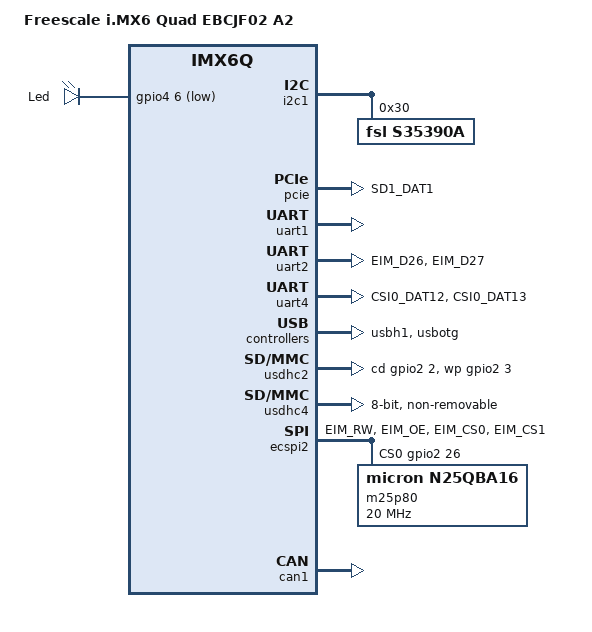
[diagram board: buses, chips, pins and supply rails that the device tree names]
/*
 * Copyright 2012 Freescale Semiconductor, Inc.
 * Copyright 2011 Linaro Ltd.
 *
 * The code contained herein is licensed under the GNU General Public
 * License. You may obtain a copy of the GNU General Public License
 * Version 2 or later at the following locations:
 *
 * http://www.opensource.org/licenses/gpl-license.html
 * http://www.gnu.org/copyleft/gpl.html
 */

/dts-v1/;

#include "imx6q.dtsi"
#include "imx6qdl-advantech.dtsi"

/ {
	model = "Freescale i.MX6 Quad EBCJF02 A2";
	compatible = "fsl,imx6q-sabresd", "fsl,imx6q";

	board {
		compatible = "proc-board";
		board-type = "EBC-JF02 A1";
		board-cpu = "DualQuad";
	};

        leds {
                compatible = "gpio-leds";
                pinctrl-names = "default";
                pinctrl-0 = <&pinctrl_leds_debug_1>;
                led {
                        label = "Led";
                        gpios = <&gpio4 6 1>;
                        default-state = "on";
                        linux,default-trigger = "heartbeat";
                };
        };
};

&i2c1 {
	s35390a@30 {
		compatible = "fsl,s35390a";
		reg = <0x30>;
	};
};

&i2c2 {

};

&i2c3 {

};

&iomuxc {
	pinctrl-names = "default";
	pinctrl-0 = <&pinctrl_hog_1 &pinctrl_hog_2>;

	hog {
		pinctrl_hog_2: hoggrp-2 {
			fsl,pins = <
				MX6QDL_PAD_SD1_CMD__GPIO1_IO18 		0x80000000	/* VGPI_0 */
				MX6QDL_PAD_SD1_CLK__GPIO1_IO20 		0x80000000	/* VGPI_1 */
				MX6QDL_PAD_SD3_CMD__GPIO7_IO02 		0x80000000	/* VGPO_0 */
			>;
		};
	};

	pcie {
		pinctrl_pcie_1: pciegrp-1 {
			fsl,pins = <
				MX6QDL_PAD_SD1_DAT1__GPIO1_IO17		0x80000000	/* LTE_SW_DISABLE */
			>;
		};
	};

	spi1 {
		pinctrl_ecspi1_cs_0: ecspi1_cs_grp-0 {
			fsl,pins = <
				MX6QDL_PAD_EIM_EB2__GPIO2_IO30		0x80000000	/* ECSPI1_CS0 */
			>;
		};
	};

        spi2 {
                pinctrl_ecspi2_cs_0: ecspi2_cs_grp-0 {
                        fsl,pins = <
                                MX6QDL_PAD_EIM_RW__GPIO2_IO26           0x80000000      /* ECSPI2_CS0 */
                        >;
                };
                pinctrl_ecspi2_1: ecspi2grp-1 {
                        fsl,pins = <
                                MX6QDL_PAD_EIM_OE__ECSPI2_MISO          0x170f1         /* ECSPI2_MISO */
                                MX6QDL_PAD_EIM_CS0__ECSPI2_SCLK         0x170f1         /* ECSPI2_CLK */
                                MX6QDL_PAD_EIM_CS1__ECSPI2_MOSI         0x1B008         /* ECSPI2_MOSI */
                        >;
                };
        };

	uart2 {
		pinctrl_uart2_3: uart2grp-3 { 
			fsl,pins = <
				MX6QDL_PAD_EIM_D26__UART2_TX_DATA	0x1b0b1
				MX6QDL_PAD_EIM_D27__UART2_RX_DATA	0x1b0b1
			>;
		};
	};

	uart4 {
		pinctrl_uart4_1: uart4grp-1 {
			fsl,pins = <
				MX6QDL_PAD_CSI0_DAT12__UART4_TX_DATA	0x1b0b1
				MX6QDL_PAD_CSI0_DAT13__UART4_RX_DATA	0x1b0b1
			>;
		};
	};

        leds {
                pinctrl_leds_debug_1: leds_debug1grp-1{
                        fsl,pins = <
                                MX6QDL_PAD_KEY_COL0__GPIO4_IO06          0x1b0b1 /* led0 */
                        >;
                };
        };


};

&pcie {
	pinctrl-names = "default";
	pinctrl-0 = <&pinctrl_pcie_1>;
	disable-gpio = <&gpio1 17 0>;
	status = "okay";
};

&uart1 {
	pinctrl-names = "default";
	pinctrl-0 = <&pinctrl_uart1_1>;
	status = "okay";
};

&uart2 {
	pinctrl-names = "default";
	pinctrl-0 = <&pinctrl_uart2_3>;
	status = "okay";
};

&uart4 {
	pinctrl-names = "default";
	pinctrl-0 = <&pinctrl_uart4_1>;
	status = "okay";
};

&usbh1 {
	status = "okay";
};

&usbotg {
	pinctrl-names = "default";
	pinctrl-0 = <&pinctrl_usbotg_2>;
	disable-over-current;
	status = "okay";
};

&usdhc2 {
	pinctrl-names = "default";
	pinctrl-0 = <&pinctrl_usdhc2_2>;
	cd-gpios = <&gpio2 2 0>;
	wp-gpios = <&gpio2 3 0>;
	no-1-8-v;
	keep-power-in-suspend;
	enable-sdio-wakeup;
	status = "okay";
};

&usdhc4 {
	pinctrl-names = "default";
	pinctrl-0 = <&pinctrl_usdhc4_1>;
	bus-width = <8>;
	non-removable;
	no-1-8-v;
	keep-power-in-suspend;
	status = "okay";
};


&ecspi2 {
        fsl,spi-num-chipselects = <1>;
        cs-gpios = <&gpio2 26 0>;
        pinctrl-names = "default";
        pinctrl-0 = <&pinctrl_ecspi2_cs_0 &pinctrl_ecspi2_1>;
        status = "okay";

        m25p80@0 {

                #address-cells = <1>;
                #size-cells = <1>;
                compatible = "micron,n25qba16";
                spi-max-frequency = <20000000>;
                reg = <0>;
        };
};

&can1 {
        pinctrl-names = "default";
        pinctrl-0 = <&pinctrl_flexcan1_1>;
        status = "okay";
};



